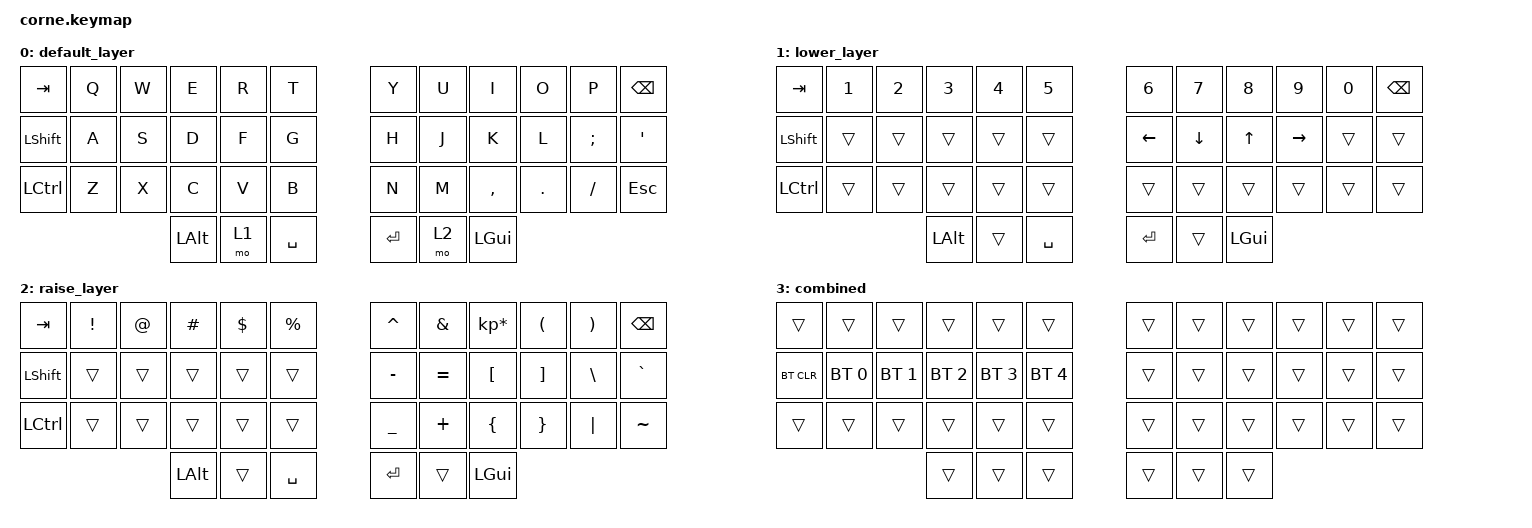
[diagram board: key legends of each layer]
/*
 * Copyright (c) 2020 The ZMK Contributors
 *
 * SPDX-License-Identifier: MIT
 */

#include <behaviors.dtsi>
#include <dt-bindings/zmk/bt.h>
#include <dt-bindings/zmk/keys.h>

/ {
    conditional_layers {
        compatible = "zmk,conditional-layers";
        config_from_default {
            if-layers = <1 2>;
            then-layer = <3>;
        };
    };

    keymap {
        compatible = "zmk,keymap";

        default_layer {
            // -----------------------------------------------------------------------------------------
            // |  TAB |  Q  |  W  |  E  |  R  |  T  |   |  Y  |  U   |  I  |  O  |  P  | BKSP |
            // | CTRL |  A  |  S  |  D  |  F  |  G  |   |  H  |  J   |  K  |  L  |  ;  |  '   |
            // | SHFT |  Z  |  X  |  C  |  V  |  B  |   |  N  |  M   |  ,  |  .  |  /  | ESC  |
            //                    | ALT | LWR | SPC |   | ENT | RSE  | GUI |

            bindings = <
  &kp TAB  &kp Q  &kp W     &kp E  &kp R      &kp T      &kp Y  &kp U      &kp I    &kp O     &kp P  &kp BSPC
&kp LSHFT  &kp A  &kp S     &kp D  &kp F      &kp G      &kp H  &kp J      &kp K    &kp L  &kp SEMI   &kp SQT
&kp LCTRL  &kp Z  &kp X     &kp C  &kp V      &kp B      &kp N  &kp M  &kp COMMA  &kp DOT  &kp FSLH   &kp ESC
                         &kp LALT  &mo 1  &kp SPACE    &kp RET  &mo 2   &kp LGUI
            >;
        };

        lower_layer {
            // -----------------------------------------------------------------------------------------
            // |  TAB |  1  |  2  |  3  |  4  |  5  |   |  6  |  7  |  8  |  9  |  0  | BKSP |
            // | BTCLR| BT1 | BT2 | BT3 | BT4 | BT5 |   | LFT | DWN |  UP | RGT |     |      |
            // | SHFT |     |     |     |     |     |   |     |     |     |     |     |      |
            //                    | ALT |     | SPC |   | ENT |     | GUI |

            bindings = <
   &kp TAB       &kp N1        &kp N2        &kp N3        &kp N4        &kp N5      &kp N6    &kp N7    &kp N8     &kp N9    &kp N0    &kp BSPC
   &kp LSHFT           &trans        &trans        &trans        &trans        &trans      &kp LEFT  &kp DOWN  &kp UP     &kp RIGHT &trans    &trans
&kp LCTRL        &trans        &trans        &trans        &trans        &trans      &trans    &trans    &trans     &trans    &trans    &trans
                                            &kp LALT       &trans        &kp SPACE   &kp RET    &trans  &kp LGUI
            >;
        };

        raise_layer {
            // -----------------------------------------------------------------------------------------
            // |  TAB |  !  |  @  |  #  |  $  |  %  |   |  ^  |  &  |  *  |  (  |  )  | BKSP |
            // | CTRL |     |     |     |     |     |   |  -  |  =  |  [  |  ]  |  \  |  `   |
            // | SHFT |     |     |     |     |     |   |  _  |  +  |  {  |  }  | "|" |  ~   |
            //                    | ALT |     | SPC |   | ENT |     | GUI |

            bindings = <
  &kp TAB  &kp EXCL  &kp AT  &kp HASH  &kp DLLR  &kp PRCNT    &kp CARET   &kp AMPS  &kp KP_MULTIPLY  &kp LPAR  &kp RPAR   &kp BSPC
&kp LSHFT   &trans  &trans    &trans    &trans     &trans    &kp MINUS  &kp EQUAL         &kp LBKT  &kp RBKT  &kp BSLH  &kp GRAVE
&kp LCTRL   &trans  &trans    &trans    &trans     &trans    &kp UNDER   &kp PLUS         &kp LBRC  &kp RBRC  &kp PIPE  &kp TILDE
                             &kp LALT    &trans  &kp SPACE      &kp RET     &trans         &kp LGUI
            >;
        };

        combined {
            bindings = <
&trans          &trans      &trans        &trans          &trans      &trans        &trans    &trans    &trans  &trans   &trans    &trans
&bt BT_CLR  &bt BT_SEL 0  &bt BT_SEL 1  &bt BT_SEL 2  &bt BT_SEL 3  &bt BT_SEL 4    &trans    &trans    &trans  &trans   &trans    &trans
&trans  &trans  &trans  &trans  &trans  &trans                                      &trans    &trans    &trans  &trans   &trans    &trans
                        &trans  &trans  &trans                                      &trans  &trans  &trans
            >;
        };
    };
};
